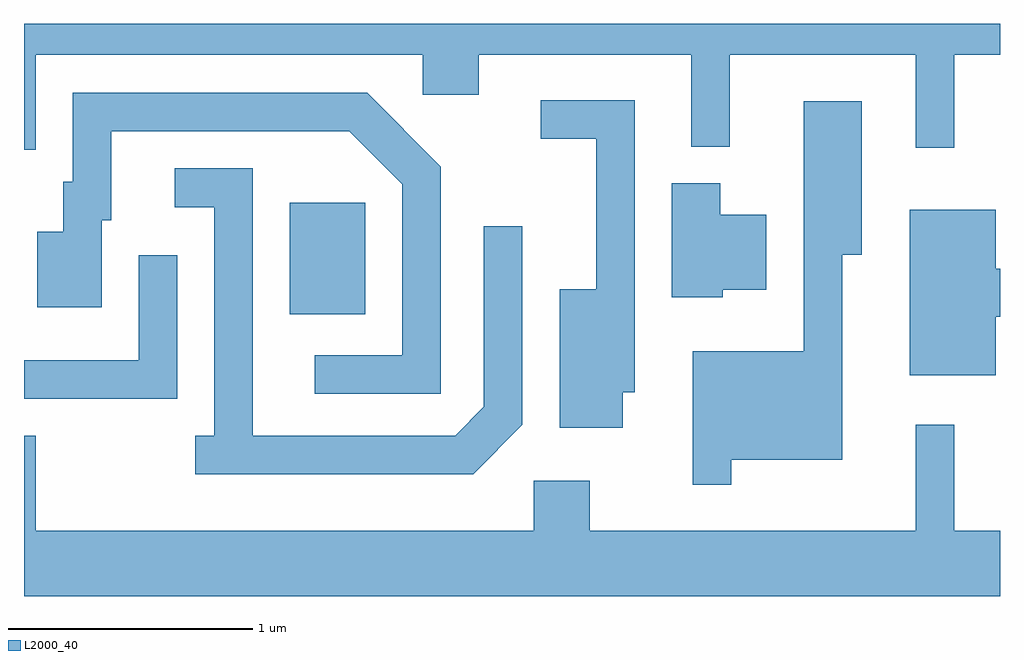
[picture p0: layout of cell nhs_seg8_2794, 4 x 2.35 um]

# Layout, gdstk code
import gdstk
lib = gdstk.Library(unit=1e-6, precision=1e-09)
def R(c, l, rs):  # rectangles x0, y0, x1, y1
    for r in rs: c.add(gdstk.rectangle(r[:2], r[2:], *l))
def P(c, l, *ps):  # polygons
    for p in ps: c.add(gdstk.Polygon(p, *l))
L2000_40 = (2000, 40)

nhs_seg8_2794 = lib.new_cell('nhs_seg8_2794')
R(nhs_seg8_2794, L2000_40, [(270.701,1813.151,271.009,1813.609)])
P(nhs_seg8_2794, L2000_40, [(269.659,1814.216),(271.246,1814.216),(271.246,1814.051),(271.474,1814.051),(271.474,1814.216),(272.346,1814.216),(272.346,1813.838),(272.504,1813.838),(272.504,1814.216),(273.266,1814.216),(273.266,1813.833),(273.424,1813.833),(273.424,1814.216),(273.611,1814.216),(273.611,1814.342),(269.611,1814.342),(269.611,1813.826),(269.659,1813.826)],
  [(271.319,1813.757),(271.017,1814.059),(269.811,1814.059),(269.811,1813.694),(269.771,1813.694),(269.771,1813.489),(269.666,1813.489),(269.666,1813.181),(269.929,1813.181),(269.929,1813.536),(269.969,1813.536),(269.969,1813.901),(270.944,1813.901),(271.161,1813.684),(271.161,1812.984),(270.803,1812.984),(270.803,1812.826),(271.319,1812.826)],
  [(272.064,1812.831),(272.114,1812.831),(272.114,1814.029),(271.728,1814.029),(271.728,1813.871),(271.956,1813.871),(271.956,1813.254),(271.806,1813.254),(271.806,1812.686),(272.064,1812.686)],
  [(272.509,1812.556),(272.964,1812.556),(272.964,1813.396),(273.044,1813.396),(273.044,1814.024),(272.806,1814.024),(272.806,1812.999),(272.351,1812.999),(272.351,1812.453),(272.509,1812.453)],
  [(271.654,1812.699),(271.654,1813.513),(271.496,1813.513),(271.496,1812.772),(271.379,1812.654),(270.549,1812.654),(270.549,1813.749),(270.228,1813.749),(270.228,1813.591),(270.391,1813.591),(270.391,1812.654),(270.313,1812.654),(270.313,1812.496),(271.452,1812.496)],
  [(272.474,1813.251),(272.654,1813.251),(272.654,1813.559),(272.464,1813.559),(272.464,1813.689),(272.266,1813.689),(272.266,1813.221),(272.474,1813.221)],
  [(273.594,1813.141),(273.611,1813.141),(273.611,1813.339),(273.594,1813.339),(273.594,1813.579),(273.241,1813.579),(273.241,1812.901),(273.594,1812.901)],
  [(270.239,1813.393),(270.081,1813.393),(270.081,1812.964),(269.611,1812.964),(269.611,1812.806),(270.239,1812.806)],
  [(273.611,1812.264),(273.424,1812.264),(273.424,1812.698),(273.266,1812.698),(273.266,1812.264),(271.929,1812.264),(271.929,1812.469),(271.701,1812.469),(271.701,1812.264),(269.659,1812.264),(269.659,1812.654),(269.611,1812.654),(269.611,1811.996),(273.611,1811.996)])

lib.write_gds('nhs_seg8_2794.gds')
